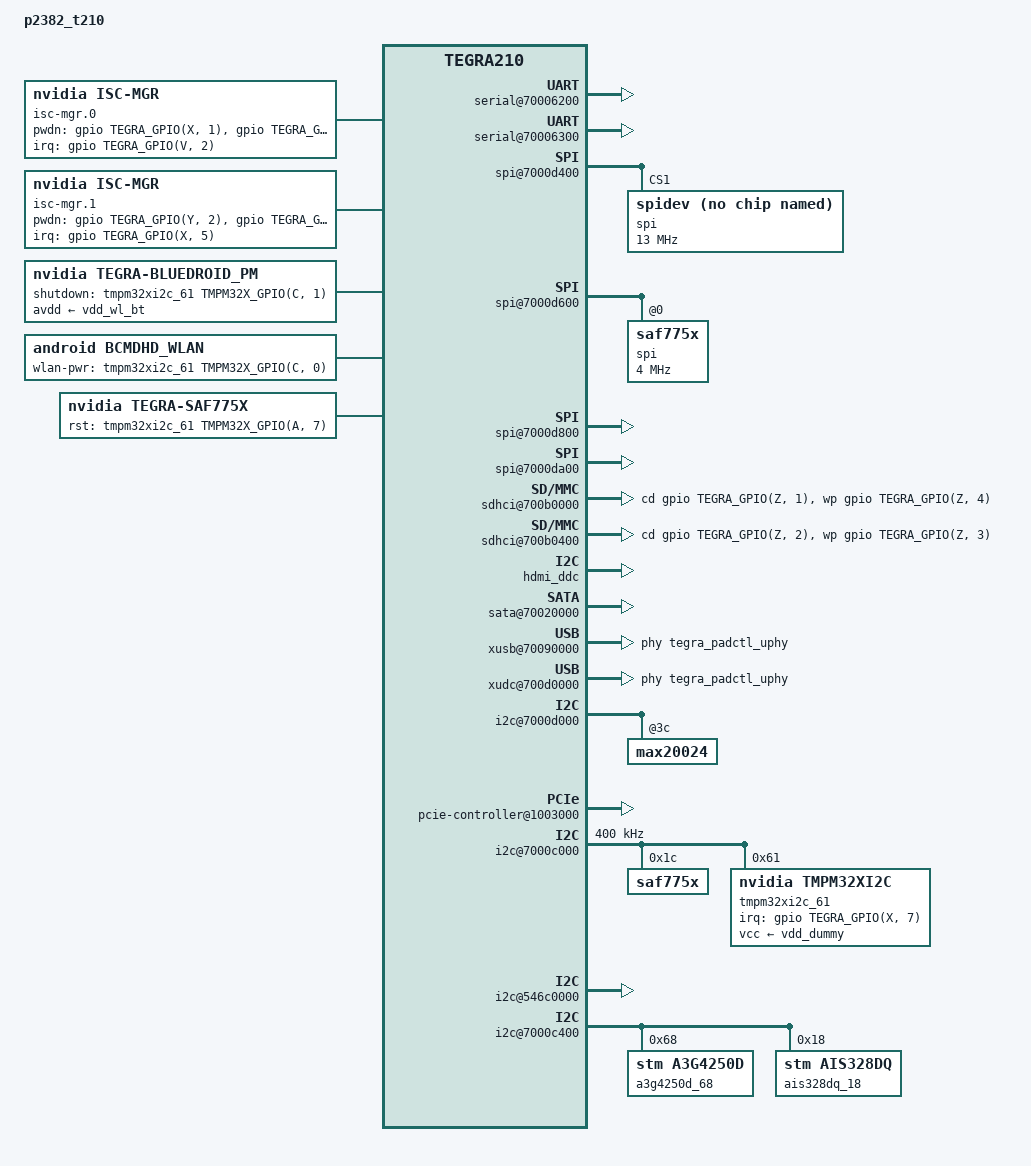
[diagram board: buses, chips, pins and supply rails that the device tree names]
/*
 * T210- VCM3.1
 *
 * arch/arm64/boot/dts/tegra210-vcm31-p2382-common.dtsi
 *
 * Copyright (c) 2015, NVIDIA CORPORATION.  All rights reserved.
 *
 * This program is free software; you can redistribute it and/or modify
 * it under the terms of the GNU General Public License as published by
 * the Free Software Foundation; version 2 of the License.
 *
 * This program is distributed in the hope that it will be useful, but WITHOUT
 * ANY WARRANTY; without even the implied warranty of MERCHANTABILITY or
 * FITNESS FOR A PARTICULAR PURPOSE.  See the GNU General Public License for
 * more details.
 *
 * You should have received a copy of the GNU General Public License along
 * with this program; if not, write to the Free Software Foundation, Inc.,
 * 51 Franklin Street, Fifth Floor, Boston, MA  02110-1301, USA.
 *
 */

#include "vcm-platforms/tegra210-vcm31.dtsi"
#include <dt-bindings/gpio/tmpm32x-gpio.h>

#define CAM_I2C_BUS 6

/ {
	model = "p2382_t210";
	compatible = "nvidia,p2382_t210", "nvidia,tegra210";
	nvidia,dtsfilename = __FILE__;
	nvidia,boardids = "2382:0000:000";

	/* Place holder for Boardinfo,this will be updated by QB
	* by reading the values from BCT partition
	*/
	nvidia,boardinfo {
		macids {
			mac0-interface = "0000";
			mac0-address = <00 00 00 00 00 00>;
			mac0-address-string = "00 00 00 00 00 00";
		};
		skuinfo {
			skustring = "000-00000-0000-000";
			skuver = "00";
		};
		prodinfo {
			prodstring = "000-00000-0000-000";
			prodver = "0";
		};
		serialnuminfo {
			serialnumstring = "0000000";
			version = "0";
		};
	};

	firmware {
		android {
			compatible = "android,firmware";
			hardware = "p2382_t210";
		};
	};

	aliases {
		/delete-property/ serial1;
	};

	cpuidle {
		cc4-no-retention;
	};

	serial@70006200 { /* satellite Radio */
		status = "okay";
	};

	serial@70006300 { /* BT */
		status = "okay";
	};

	spi@7000d400 { /* Display AIC */
		status = "okay";
		spi@1 {
			compatible = "spidev";
			reg = <1>;
			spi-max-frequency = <13000000>;
		};
	};
	spi@7000d600 { /* Dirana */
		status = "okay";
		spi@0 {
			compatible = "saf775x";
			spi-max-frequency = <4000000>;
			spi-cpha;
			controller-data {
				nvidia,clk-delay-between-packets = <10>;
				nvidia,chipselect-gpio = <&gpio TEGRA_GPIO(S,4) 0>;
			};
		};
	};

	spi@7000d800 { /* MCU */
		status = "okay";
	};

	spi@7000da00 { /* HD, DAB AIC */
		status = "okay";
	};

	sdhci@700b0000 { /* sd card slot 1st*/
		cd-gpios = <&gpio TEGRA_GPIO(Z, 1) 0>;
		wp-gpios = <&gpio TEGRA_GPIO(Z, 4) 0>;
		nvidia,sd-device;
		uhs-mask = <0x68>; /* mask HS400, HS200, DDR50 */
		mmc-ocr-mask = <3>; /* mask ocr 3v3 */
		trim-delay = <0x2>;
		tap-delay = <0x2>;
		nvidia,auto-cal-slew-override;
		auto-cal-step = <0x7>;
		calib-1v8-offsets = <0x7B79>;
		calib-3v3-offsets = <0x7B79>;
		compad-vref-3v3 = <0x1>;
		compad-vref-1v8 = <0x2>;
		power-off-rail;
		/* clock freq based on mode */
		fixed-clock-freq = <25500000 24000000 0 47000000 24000000 47000000 94000000 204000000 0 0 0>;
		nvidia,update-pinctrl-settings;
		status = "okay";
	};

	sdhci@700b0400 { /* sd card slot 2nd */
		/delete-property/ non-removable;
		cd-gpios = <&gpio TEGRA_GPIO(Z, 2) 0>;
		wp-gpios = <&gpio TEGRA_GPIO(Z, 3) 0>;
		nvidia,sd-device;
		uhs-mask = <0x68>; /* mask HS400, HS200, DDR50 */
		mmc-ocr-mask = <3>; /* mask ocr 3v3 */
		trim-delay = <0x3>;
		tap-delay = <0x1>;
		nvidia,auto-cal-slew-override;
		auto-cal-step = <0x7>;
		calib-1v8-offsets = <0x7977>;
		calib-3v3-offsets = <0x7977>;
		compad-vref-3v3 = <0x1>;
		compad-vref-1v8 = <0x2>;
		power-off-rail;
		default-drv-type = <1>;
		/* clock freq based on mode */
		fixed-clock-freq = <25500000 24000000 0 47000000 24000000 47000000 94000000 204000000 0 0 0>;
		nvidia,update-pinctrl-settings;
		status = "okay";
	};

	gpu-dvfs-rework {
		status = "okay";
	};

	cpu_edp {
		status = "disabled";
	};

	gpu_edp {
		status = "disabled";
	};

	sysedp-dynamic-capping {
		status = "disabled";
	};

	hdmi_ddc: i2c@7000c700 { /* DDC */
		status = "okay";
	};

	sata@70020000 {
		status = "okay";
	};

	xusb@70090000 {
		status = "okay";
		extcon-cables = <&id_vbus_extcon 1>;
		extcon-cable-names = "id";
		#extcon-cells = <1>;
		phys = <&tegra_padctl_uphy TEGRA_PADCTL_UPHY_UTMI_P(2)>,
			 <&tegra_padctl_uphy TEGRA_PADCTL_UPHY_USB3_P(3)>;
		phy-names = "utmi-2", "usb3-3";
	};

	xudc@700d0000 {
		status = "okay";
		extcon-cables = <&id_vbus_extcon 0>;
		extcon-cable-names = "vbus";
		#extcon-cells = <1>;
		phys =  <&tegra_padctl_uphy TEGRA_PADCTL_UPHY_UTMI_P(0)>,
			<&tegra_padctl_uphy TEGRA_PADCTL_UPHY_USB3_P(2)>;
		phy-names = "usb2", "usb3";
	};

	mailbox@70098000 {
		status = "okay";
	};

	pinctrl@7009f000 {
		status = "okay";
		pinctrl-0 = <&tegra_padctl_uphy_pinmux_default>;
		pinctrl-names = "default";
		tegra_padctl_uphy_pinmux_default: pinmux {
			 usb2-std-A-port2 {
				nvidia,lanes = "otg-2";
				nvidia,function = "xusb";
				nvidia,port-cap = <TEGRA_PADCTL_PORT_HOST_ONLY>;
			};

			usb3-std-A-port2 {
				nvidia,lanes = "uphy-lane-4";
				nvidia,function = "usb3";
				nvidia,usb3-port = <3>;
				nvidia,usb2-map = <2>;
				nvidia,port-cap = <TEGRA_PADCTL_PORT_HOST_ONLY>;
			};
		};
	};

	i2c@7000d000 {
		max20024: max20024@3c {
			pinctrl-names = "default";
			pinctrl-0 = <&max20024_default>;
			max20024_default: pinmux@0 {
				pin_gpio0 { /* USB ID */
				pins = "gpio0";
				function = "gpio";
				};
			};
		};
	};

	pcie-controller@1003000 {
		status = "okay";
		pci@1,0 {
			status = "okay";
			nvidia,num-lanes = <2>;
		};
		pci@2,0 {
			nvidia,num-lanes = <1>;
		};
	};

	i2c@7000c000 { /* GEN1 */
		clock-frequency = <400000>;
		saf775x@1c {
			 compatible = "saf775x";
			 reg = <0x1c>;
			 status = "okay";
		};

		tmpm32xi2c_61: tmpm32xi2c@61 {
			compatible = "nvidia,tmpm32xi2c";
			gpio-controller;
			#gpio-cells = <2>;
			reg = <0x61>;
			interrupt-parent = <&gpio>;
			interrupts = <TEGRA_GPIO(X, 7) 0x0>;
			tmpm32xi2c,irq_flags = <IRQ_TYPE_LEVEL_LOW>;
			vcc-supply = <&vdd_dummy>;

			tmpm32xi2c_default_output_low {
				gpio-hog;
				output-low;
				gpios = <TMPM32X_GPIO(C, 1) 0
					 TMPM32X_GPIO(E, 5) 0
					>;
				line-name = "tmpm32xi2c_default_output_low";
			};

			tmpm32xi2c_default_output_high {
				gpio-hog;
				output-low;
				gpios = <TMPM32X_GPIO(C, 0) 0>;
				line-name = "tmpm32xi2c_default_output_high";
			};
		};
	};

	vii2c {
		avdd_dsi_csi-supply = <&vdd_dummy>;
	};

	i2c@546c0000 {
		avdd_dsi_csi-supply = <&vdd_dummy>;
		status = "okay";
	};

	isc-mgr.0 {
		compatible = "nvidia,isc-mgr";
		i2c-bus = <2>;
		csi-port = <0>;
		pwdn-gpios = < &gpio TEGRA_GPIO(X, 1) GPIO_ACTIVE_HIGH	/* GMSL_IN1_PDN */
			&gpio TEGRA_GPIO(K, 4) GPIO_ACTIVE_HIGH		/* CSI1_TV_EN1 */
			&gpio TEGRA_GPIO(K, 6) GPIO_ACTIVE_HIGH		/* CSI1_TV_EN2 */
			&gpio TEGRA_GPIO(K, 7) GPIO_ACTIVE_HIGH		/* CSI1_TV_EN3 */
			&gpio TEGRA_GPIO(K, 5) GPIO_ACTIVE_HIGH>;	/* CSI1_TV_EN4 */
		/* default-power-on; */
		interrupt-parent = <&gpio>;
		interrupts = <TEGRA_GPIO(V, 2) 2>; /* gpio PV2 : falling edge sensitive */
		status = "okay";

		aggregator@6a {
			addr = <0x6a>;  /* 7 bit slave address */
			reg_len = <8>;  /* 8 bit register length */
			dat_len = <8>;  /* 8 bit data length */
		};

		serializer0@40 {
			addr = <0x40>;  /* 7 bit slave address */
			reg_len = <8>;  /* 8 bit register length */
			dat_len = <8>;  /* 8 bit data length */
		};

		sensor0@30 {
			addr = <0x30>;  /* 7 bit slave address */
			reg_len = <16>;  /* 8 bit register length */
			dat_len = <8>;  /* 8 bit data length */
		};
	};

	isc-mgr.1 {
		compatible = "nvidia,isc-mgr";
		i2c-bus = <CAM_I2C_BUS>;
		csi-port = <2>;
		pwdn-gpios = < &gpio TEGRA_GPIO(Y, 2) GPIO_ACTIVE_HIGH	/* GMSL_IN2_PDN */
			&gpio TEGRA_GPIO(H, 1) GPIO_ACTIVE_HIGH		/* CSI2_TV_EN1 */
			&gpio TEGRA_GPIO(H, 5) GPIO_ACTIVE_HIGH		/* CSI2_TV_EN2 */
			&gpio TEGRA_GPIO(S, 7) GPIO_ACTIVE_HIGH		/* CSI2_TV_EN3 */
			&gpio TEGRA_GPIO(T, 0) GPIO_ACTIVE_HIGH>;	/* CSI2_TV_EN4 */
		/* default-power-on; */
		interrupt-parent = <&gpio>;
		interrupts = <TEGRA_GPIO(X, 5) 2>; /* gpio PX5 : falling edge sensitive */
		status = "okay";

		aggregator@6a {
			addr = <0x6a>;  /* 7 bit slave address */
			reg_len = <8>;  /* 8 bit register length */
			dat_len = <8>;  /* 8 bit data length */
		};

		serializer0@40 {
			addr = <0x40>;  /* 7 bit slave address */
			reg_len = <8>;  /* 8 bit register length */
			dat_len = <8>;  /* 8 bit data length */
		};

		sensor0@30 {
			addr = <0x30>;  /* 7 bit slave address */
			reg_len = <16>;  /* 8 bit register length */
			dat_len = <8>;  /* 8 bit data length */
		};
	};

	sound_ref {
		compatible = "nvidia,tegra-audio-t210ref-p2382";
		nvidia,model = "tegra-snd-p2382";
		nvidia,num-codec-link = <2>;
		nvidia,num-amx = <2>;
		nvidia,num-adx = <2>;
		nvidia,amx-slot-size = <32 32>;
		nvidia,adx-slot-size = <32 32>;
		nvidia,amx1-slot-map = <
			/* slot 0 - Hi */
			TDM_SLOT_MAP(0, 2, 0)
			TDM_SLOT_MAP(0, 2, 1)
			/* slot 1 - Hi */
			TDM_SLOT_MAP(0, 1, 0)
			TDM_SLOT_MAP(0, 1, 1)
			/* slot 2 - Hi */
			TDM_SLOT_MAP(1, 2, 0)
			TDM_SLOT_MAP(1, 2, 1)
			/* slot 3 - Hi */
			TDM_SLOT_MAP(1, 1, 0)
			TDM_SLOT_MAP(1, 1, 1)
			/* slot 4 - Hi */
			TDM_SLOT_MAP(1, 4, 0)
			TDM_SLOT_MAP(1, 4, 1)
			/* slot 5 - Hi */
			TDM_SLOT_MAP(1, 3, 0)
			TDM_SLOT_MAP(1, 3, 1)
			/* slot 6 - Hi */
			TDM_SLOT_MAP(3, 1, 0)
			TDM_SLOT_MAP(3, 1, 1)
			/* slot 7 - Hi */
			TDM_SLOT_MAP(2, 1, 0)
			TDM_SLOT_MAP(2, 1, 1)
			/* slot 0 to 7 - Low */
			TDM_SLOT_MAP(0, 0, 0)
			TDM_SLOT_MAP(0, 0, 0)
			TDM_SLOT_MAP(0, 0, 0)
			TDM_SLOT_MAP(0, 0, 0)
			TDM_SLOT_MAP(0, 0, 0)
			TDM_SLOT_MAP(0, 0, 0)
			TDM_SLOT_MAP(0, 0, 0)
			TDM_SLOT_MAP(0, 0, 0)
			TDM_SLOT_MAP(0, 0, 0)
			TDM_SLOT_MAP(0, 0, 0)
			TDM_SLOT_MAP(0, 0, 0)
			TDM_SLOT_MAP(0, 0, 0)
			TDM_SLOT_MAP(0, 0, 0)
			TDM_SLOT_MAP(0, 0, 0)
			TDM_SLOT_MAP(0, 0, 0)
			TDM_SLOT_MAP(0, 0, 0)>;

		nvidia,amx2-slot-map = <
			/* slot 0 - Hi */
			TDM_SLOT_MAP(0, 1, 0)
			TDM_SLOT_MAP(0, 1, 1)
			/* slot 1 - Hi */
			TDM_SLOT_MAP(0, 2, 0)
			TDM_SLOT_MAP(0, 2, 1)
			/* slot 2 - Hi */
			TDM_SLOT_MAP(1, 1, 0)
			TDM_SLOT_MAP(1, 1, 1)
			/* slot 3 - Hi */
			TDM_SLOT_MAP(1, 2, 0)
			TDM_SLOT_MAP(1, 2, 1)
			/* slot 4 - Hi */
			TDM_SLOT_MAP(2, 1, 0)
			TDM_SLOT_MAP(2, 1, 1)
			/* slot 5 - Hi */
			TDM_SLOT_MAP(2, 2, 0)
			TDM_SLOT_MAP(2, 2, 1)
			/* slot 6 - Hi */
			TDM_SLOT_MAP(3, 1, 0)
			TDM_SLOT_MAP(3, 1, 1)
			/* slot 7 - Hi */
			TDM_SLOT_MAP(3, 2, 0)
			TDM_SLOT_MAP(3, 2, 1)
			/* slot 0 to 7 - Low */
			TDM_SLOT_MAP(0, 0, 0)
			TDM_SLOT_MAP(0, 0, 0)
			TDM_SLOT_MAP(0, 0, 0)
			TDM_SLOT_MAP(0, 0, 0)
			TDM_SLOT_MAP(0, 0, 0)
			TDM_SLOT_MAP(0, 0, 0)
			TDM_SLOT_MAP(0, 0, 0)
			TDM_SLOT_MAP(0, 0, 0)
			TDM_SLOT_MAP(0, 0, 0)
			TDM_SLOT_MAP(0, 0, 0)
			TDM_SLOT_MAP(0, 0, 0)
			TDM_SLOT_MAP(0, 0, 0)
			TDM_SLOT_MAP(0, 0, 0)
			TDM_SLOT_MAP(0, 0, 0)
			TDM_SLOT_MAP(0, 0, 0)
			TDM_SLOT_MAP(0, 0, 0)>;

		nvidia,adx-slot-map = <
			/* slot 0 - Hi */
			TDM_SLOT_MAP(0, 1, 0)
			TDM_SLOT_MAP(0, 1, 1)
			/* slot 1 - Hi */
			TDM_SLOT_MAP(0, 2, 0)
			TDM_SLOT_MAP(0, 2, 1)
			/* slot 2 - Hi */
			TDM_SLOT_MAP(1, 1, 0)
			TDM_SLOT_MAP(1, 1, 1)
			/* slot 3 - Hi */
			TDM_SLOT_MAP(1, 2, 0)
			TDM_SLOT_MAP(1, 2, 1)
			/* slot 4 - Hi */
			TDM_SLOT_MAP(2, 1, 0)
			TDM_SLOT_MAP(2, 1, 1)
			/* slot 5 - Hi */
			TDM_SLOT_MAP(2, 2, 0)
			TDM_SLOT_MAP(2, 2, 1)
			/* slot 6 - Hi */
			TDM_SLOT_MAP(3, 1, 0)
			TDM_SLOT_MAP(3, 1, 1)
			/* slot 7 - Hi */
			TDM_SLOT_MAP(3, 2, 0)
			TDM_SLOT_MAP(3, 2, 1)
			/* slot 0 to 7 - Low */
			/* slot 0 to 7 - Low */
			TDM_SLOT_MAP(0, 0, 0)
			TDM_SLOT_MAP(0, 0, 0)
			TDM_SLOT_MAP(0, 0, 0)
			TDM_SLOT_MAP(0, 0, 0)
			TDM_SLOT_MAP(0, 0, 0)
			TDM_SLOT_MAP(0, 0, 0)
			TDM_SLOT_MAP(0, 0, 0)
			TDM_SLOT_MAP(0, 0, 0)
			TDM_SLOT_MAP(0, 0, 0)
			TDM_SLOT_MAP(0, 0, 0)
			TDM_SLOT_MAP(0, 0, 0)
			TDM_SLOT_MAP(0, 0, 0)
			TDM_SLOT_MAP(0, 0, 0)
			TDM_SLOT_MAP(0, 0, 0)
			TDM_SLOT_MAP(0, 0, 0)
			TDM_SLOT_MAP(0, 0, 0)>;

		nvidia,audio-routing =
			"Headphone-x", "x OUT",
			"x IN", "LineIn-x",
			"Headphone-y", "y OUT",
			"y IN", "LineIn-y";

		nvidia,xbar = <&tegra_axbar>;

		nvidia,dai-link-1 {
			link-name = "p2382-audio-dsp-tdm1-1";
			cpu-dai = <&tegra_i2s3>;
			codec-dai = <&spdif_dit0>;
			cpu-dai-name = "I2S3";
			codec-dai-name = "dit-hifi";
			tx-mask = <0xFF>;
			rx-mask = <0xFF>;
			format = "dsp_a";
			bitclock-master;
			frame-master;
			bitclock-noninversion;
			frame-inversion;
			bit-format = "s32_le";
			bclk_ratio = <1>;
			srate = <48000>;
			num-channel = <8>;
			name-prefix = "x";
		};

		nvidia,dai-link-2 {
			link-name = "p2382-audio-dsp-tdm1-2";
			cpu-dai = <&tegra_i2s4>;
			codec-dai = <&spdif_dit1>;
			cpu-dai-name = "I2S4";
			codec-dai-name = "dit-hifi";
			tx-mask = <0xFF>;
			rx-mask = <0xFF>;
			format = "dsp_a";
			bitclock-master;
			frame-master;
			bitclock-noninversion;
			frame-inversion;
			bit-format = "s32_le";
			bclk_ratio = <1>;
			srate = <48000>;
			num-channel = <8>;
			name-prefix = "y";
		};
	};

	adsp_audio {
		num-plugin = <3>;
		plugin-info-3 {
			plugin-name = "aec";
			firmware-name = "libnvaecfx.elf";
			widget-name = "AEC";
			param-type = <2>; /* SNDRV_CTL_ELEM_TYPE_INTEGER */
		};
	};

	bluedroid_pm { /* BCM89359 */
		compatible = "nvidia,tegra-bluedroid_pm";
		id = <0>;
		bluedroid_pm,shutdown-gpio = <
				&tmpm32xi2c_61 TMPM32X_GPIO(C, 1) 0
				>;
		avdd-supply = <&vdd_wl_bt>;
	};

	bcmdhd_wlan {
		compatible = "android,bcmdhd_wlan";
		wlan-pwr-gpio = <
			&tmpm32xi2c_61 TMPM32X_GPIO(C, 0) GPIO_ACTIVE_HIGH
			>;
		status = "okay";
	};

	regulators {
		vdd_wl_bt: regulator@6 {
			status = "okay";
			gpio = <&tmpm32xi2c_61 TMPM32X_GPIO(E, 5) 0>;
		};

	};

	saf775x { /* dirana3 */
		compatible = "nvidia,tegra-saf775x";
		id = <0>;
		rst-gpio = <&tmpm32xi2c_61 TMPM32X_GPIO(A, 7) 0>;
	};

	i2c@7000c400 {
		nvidia,clock-always-on;
		a3g4250d_68: a3g4250d@68 {
			compatible = "stm,a3g4250d";
			reg = <0x68>;
			gyroscope_matrix = [ff 00 00 00 ff 00 00 00 01];
		};
		ais328dq_18: ais328dq@18 {
			compatible = "stm,ais328dq";
			reg = <0x18>;
			accelerometer_matrix = [ff 00 00 00 ff 00 00 00 01];
		};
	};

	watchdog@60005100 {
		status = "okay";
	};

};
